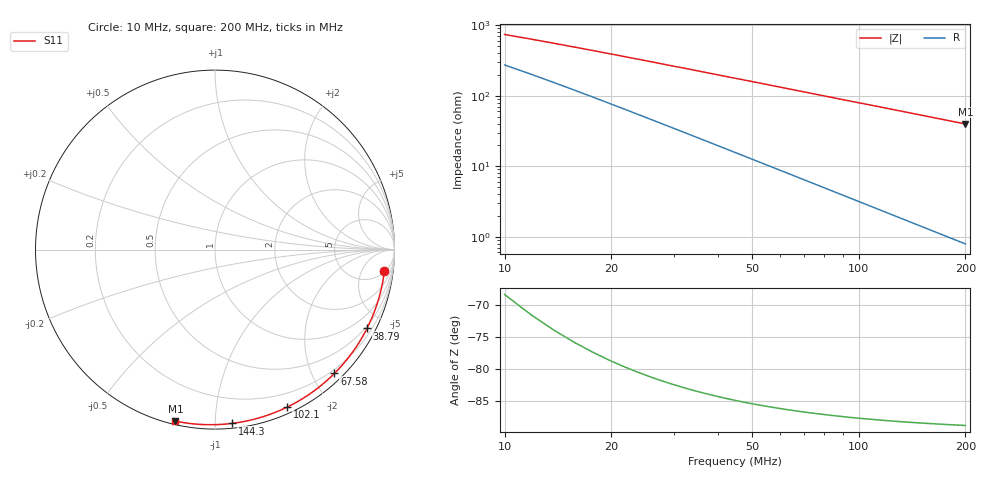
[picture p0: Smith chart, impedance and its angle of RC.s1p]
#Hz S ri R 50
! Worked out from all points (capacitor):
!   100 points, 10 MHz to 200 MHz, reference 50 ohm
!   read as one part to ground: C = 21.7 pF near 10 MHz
!   lowest |Z| = 39.8 ohm at 200 MHz (marker M1)
!   S11 on the Smith chart (normalised r, x): 10 MHz: 5, -14; 38.79 MHz: 0.42, -4.06; 67.58 MHz: 0.14, -2.35; 102.1 MHz: 0.06, -1.56; 144.3 MHz: 0.03, -1.10; 200 MHz: 0.02, -0.80
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1e7  0.9439 -0.1192
1.57576e7  0.9332 -0.1867
2.15152e7  0.9179 -0.2529
2.72727e7  0.8982 -0.3173
3.49495e7  0.8656 -0.3997
3.87879e7  0.8468 -0.4391
4.83838e7  0.7935 -0.5319
5.41414e7  0.7576 -0.5833
5.79798e7  0.7324 -0.6157
6.37374e7  0.6928 -0.6614
6.75758e7  0.6654 -0.6899
7.52525e7  0.6089 -0.7422
8.29293e7  0.5505 -0.7882
8.67677e7  0.5209 -0.809
9.25253e7  0.4763 -0.8373
1.02121e8  0.4019 -0.8776
1.0596e8  0.3723 -0.8913
1.11717e8  0.3283 -0.9096
1.17475e8  0.2849 -0.9253
1.23232e8  0.2423 -0.9384
1.2899e8  0.2006 -0.9493
1.36667e8  0.1465 -0.9605
1.44343e8  0.0944 -0.9684
1.53939e8  0.0321 -0.974
1.65455e8  -0.0382 -0.9755
1.7697e8  -0.1036 -0.9724
1.88485e8  -0.1643 -0.9655
2e8  -0.2205 -0.9557
